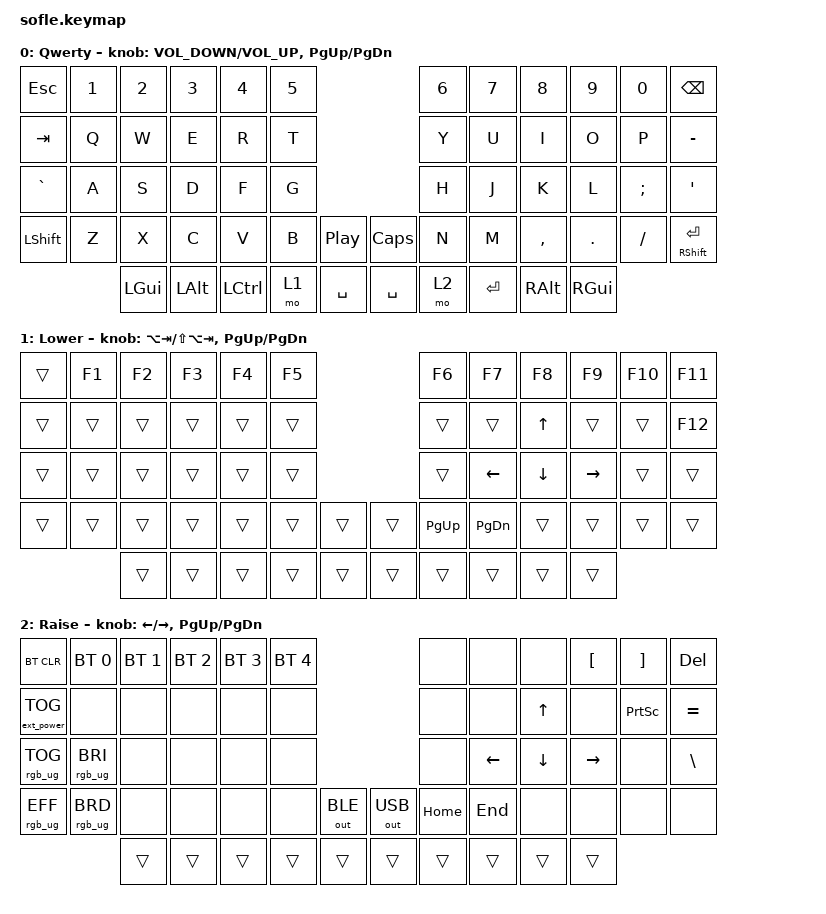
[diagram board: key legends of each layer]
/*
 * Copyright (c) 2020 The ZMK Contributors
 *
 * SPDX-License-Identifier: MIT
 */

#include <behaviors.dtsi>
#include <dt-bindings/zmk/keys.h>
#include <dt-bindings/zmk/bt.h>
#include <dt-bindings/zmk/ext_power.h>
#include <dt-bindings/zmk/rgb.h>
#include <dt-bindings/zmk/outputs.h>

/*
 * Temporarily here because nice nano v2 spi is not defined on ZMk Yet
 * Source: https://github.com/zmkfirmware/zmk/blob/main/app/boards/shields/reviung41/boards/nice_nano.overlay
 * GitHub Issue: https://github.com/zmkfirmware/zmk/issues/885
 */

&spi1 {
   compatible = "nordic,nrf-spim";
   status = "okay";
   mosi-pin = <6>;
   // Unused pins, needed for SPI definition, but not used by the ws2812 driver itself.
   sck-pin = <5>;
   miso-pin = <7>;

   led_strip: ws2812@0 {
      compatible = "worldsemi,ws2812-spi";
      label = "WS2812";

      /* SPI */
      reg = <0>; /* ignored, but necessary for SPI bindings */
      spi-max-frequency = <4000000>;

      /* WS2812 */
      chain-length = <36>; /* arbitrary; change at will */
      spi-one-frame = <0x70>;
      spi-zero-frame = <0x40>;
   };
};

/ {
   chosen {
      zmk,underglow = &led_strip;
   };
};

/*
 * Temporarily here because nice nano v2 spi is not defined on ZMk YET
 */

/ {
    keymap {
        compatible = "zmk,keymap";

        default_layer {
            label = " Qwerty";
// ------------------------------------------------------------------------------------------------------------
// |  ESC  |  1  |  2  |  3   |  4   |  5   |                   |  6   |  7    |  8    |  9   |   0   | BKSPC |
// |  TAB  |  Q  |  W  |  E   |  R   |  T   |                   |  Y   |  U    |  I    |  O   |   P   |   -   |
// |   `   |  A  |  S  |  D   |  F   |  G   |                   |  H   |  J    |  K    |  L   |   ;   |   '   |
// | SHIFT |  Z  |  X  |  C   |  V   |  B   |  PP    |  | CAPS  |  N   |  M    |  ,    |  .   |   /   | SHIFT |
//               | GUI | ALT  | CTRL | LOWER|  SPACE |  | SPACE | RAISE| CTRL  | ALT   | GUI  |
            bindings = <
&kp ESC   &kp N1 &kp N2   &kp N3   &kp N4    &kp N5                      &kp N6 &kp N7    &kp N8    &kp N9   &kp N0   &kp BSPC
&kp TAB   &kp Q  &kp W    &kp E    &kp R     &kp T                       &kp Y  &kp U     &kp I     &kp O    &kp P    &kp MINUS
&kp GRAVE &kp A  &kp S    &kp D    &kp F     &kp G                       &kp H  &kp J     &kp K     &kp L    &kp SEMI &kp SQT
&kp LSHFT &kp Z  &kp X    &kp C    &kp V     &kp B  &kp C_PP   &kp CAPS  &kp N  &kp M     &kp COMMA &kp DOT  &kp FSLH &mt RSHFT RET
                 &kp LGUI &kp LALT &kp LCTRL &mo 1  &kp SPACE  &kp SPACE &mo 2  &kp RET   &kp RALT  &kp RGUI
            >;

            sensor-bindings = <&inc_dec_kp C_VOL_DOWN C_VOL_UP &inc_dec_kp PG_UP PG_DN>;
        };

        lower_layer {
            label = " Lower";
// TODO: Some binds are waiting for shifted keycode support.
// ------------------------------------------------------------------------------------------------------------
// |       |  F1 |  F2 |  F3  |  F4  |  F5  |                   |  F6  |  F7   |  F8   |  F9  |  F10  |  F11  |
// |       |     |     |      |      |      |                   |      |       |  UP   |      |       |  F12  |
// |       |     |     |      |      |      |                   |      | LEFT  |  DOWN |RIGHT |       |       |
// |       |     |     |      |      |      |        |  |       | PGUP | PGDN  |       |      |       |       |
//               |     |      |      |      |        |  |       |      |       |       |      |
            bindings = <
&trans    &kp F1    &kp F2    &kp F3      &kp F4    &kp F5                    &kp F6    &kp F7    &kp F8   &kp F9    &kp F10   &kp F11
&trans    &trans    &trans    &trans      &trans    &trans                    &trans    &trans    &kp UP   &trans    &trans    &kp F12
&trans    &trans    &trans    &trans      &trans    &trans                    &trans    &kp LEFT  &kp DOWN &kp RIGHT &trans    &trans
&trans    &trans    &trans    &trans      &trans    &trans    &trans   &trans &kp PG_UP &kp PG_DN &trans   &trans    &trans    &trans
                    &trans    &trans      &trans    &trans    &trans   &trans &trans    &trans    &trans   &trans
            >;

            sensor-bindings = <&inc_dec_kp LA(TAB) LS(LA(TAB)) &inc_dec_kp PG_UP PG_DN>;
        };

        raise_layer {
            label = " Raise";
// ------------------------------------------------------------------------------------------------------------
// |BTCLR | BT1  | BT2  |  BT3  |  BT4  |  BT5 |               |      |      |       | LBKT |  RBKT |  DEL  |
// |EXTPWR|      |      |       |       |      |               |      |      |   UP  |      | PSCRN | EQUAL |
// |RGBTOG|RGBBRI|      |       |       |      |               |      | LEFT |  DOWN |RIGHT |       | BSLH  |
// |RGBEFF|RGBBRD|      |       |       |      | BLE |  |  USB | HOME | END  |       |      |       |       |
//               |      |       |       |      |     |  |      |      |      |       |      |
            bindings = <
&bt BT_CLR        &bt BT_SEL 0     &bt BT_SEL 1 &bt BT_SEL 2 &bt BT_SEL 3 &bt BT_SEL 4                      &none     &none     &none    &kp LBKT  &kp RBKT  &kp DEL
&ext_power EP_TOG &none            &none        &none        &none        &none                             &none     &none     &kp UP   &none     &kp PSCRN &kp EQUAL
&rgb_ug RGB_TOG   &rgb_ug RGB_BRI  &none        &none        &none        &none                             &none     &kp LEFT  &kp DOWN &kp RIGHT &none     &kp BSLH
&rgb_ug RGB_EFF   &rgb_ug RGB_BRD  &none        &none        &none        &none   &out OUT_BLE &out OUT_USB &kp HOME  &kp END   &none    &none     &none     &none
                                   &trans       &trans       &trans       &trans  &trans       &trans       &trans    &trans    &trans   &trans
            >;

            sensor-bindings = <&inc_dec_kp LEFT RIGHT &inc_dec_kp PG_UP PG_DN>;
        };
    };
};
